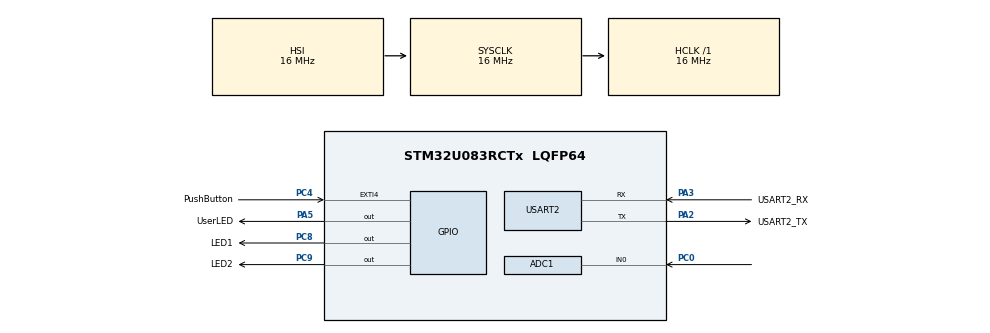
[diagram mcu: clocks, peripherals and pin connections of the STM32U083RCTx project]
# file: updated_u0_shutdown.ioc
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ADC1.Channel-0\#ChannelRegularConversion=ADC_CHANNEL_0
ADC1.NbrOfConversionFlag=1
ADC1.Rank-0\#ChannelRegularConversion=1
ADC1.RankArg-0\#ChannelRegularConversion=ADC_REGULAR_RANK_1
ADC1.SamplingTime-0\#ChannelRegularConversion=ADC_SAMPLINGTIME_COMMON_1
ADC1.SelectedChannel=ADC_CHANNEL_0
ADC1.master=1
Mcu.Family=STM32U0
Mcu.Name=STM32U083RCTx
Mcu.Package=LQFP64
Mcu.UserConstants=sec,60
NVIC.EXTI4_15_IRQn=true\:0\:0\:false\:false\:true\:true\:true\:true
NVIC.PriorityGroup=NVIC_PRIORITYGROUP_2
NVIC.RTC_TAMP_IRQn=true\:0\:0\:false\:false\:true\:true\:true\:true
PA13\ (SWDIO).GPIO_Label=SWDIO
PA13\ (SWDIO).Signal=DEBUG_JTMS-SWDIO
PA14\ (SWCLK).GPIO_Label=SWCLK
PA14\ (SWCLK).Signal=DEBUG_JTCK-SWCLK
PA2.GPIO_Label=USART2_TX
PA2.Mode=Asynchronous
PA2.Signal=USART2_TX
PA3.GPIO_Label=USART2_RX
PA3.Mode=Asynchronous
PA3.Signal=USART2_RX
PA5.GPIO_Label=UserLED
PA5.Signal=GPIO_Output
PB8.GPIO_Label=I2C1_SCL
PB8.Signal=I2C1_SCL
PB9.GPIO_Label=I2C1_SDA
PB9.Signal=I2C1_SDA
PC0.Mode=IN0
PC0.Signal=ADC1_IN0
PC14-OSC32_IN.GPIO_Label=OSC32_IN
PC14-OSC32_IN.Mode=LSE-External-Oscillator
PC14-OSC32_IN.Signal=RCC_OSC32_IN
PC15-OSC32_OUT.GPIO_Label=OSC32_OUT
PC15-OSC32_OUT.Mode=LSE-External-Oscillator
PC15-OSC32_OUT.Signal=RCC_OSC32_OUT
PC4.GPIO_Label=PushButton
PC4.GPIO_PuPd=GPIO_PULLDOWN
PC4.Signal=GPXTI4
PC8.GPIO_Label=LED1
PC8.GPIO_PuPd=GPIO_PULLDOWN
PC8.PinState=GPIO_PIN_SET
PC8.Signal=GPIO_Output
PC9.GPIO_Label=LED2
PC9.GPIO_PuPd=GPIO_PULLDOWN
PC9.PinState=GPIO_PIN_SET
PC9.Signal=GPIO_Output
PF0-OSC_IN.GPIO_Label=OSC_IN
PF0-OSC_IN.Signal=RCC_OSC_IN
PF1-OSC_OUT.GPIO_Label=OSC_OUT
PF1-OSC_OUT.Signal=RCC_OSC_OUT
ProjectManager.HeapSize=0x200
ProjectManager.StackSize=0x400
ProjectManager.TargetToolchain=CMake
RCC.AHBFreq_Value=16000000
RCC.CortexFreq_Value=16000000
RCC.HCLKFreq_Value=16000000
RCC.HSE_VALUE=4000000
RCC.HSI48_VALUE=48000000
RCC.HSI_VALUE=16000000
RCC.MSI_VALUE=4000000
RCC.SYSCLKFreq_VALUE=16000000
RCC.VCOOutputFreq_Value=64000000
RTC.WakeUpClock-WakeUp=RTC_WAKEUPCLOCK_CK_SPRE_16BITS
RTC.WakeUpCounter-WakeUp=60
USART2.VirtualMode-Asynchronous=VM_ASYNC
VP_PWR_VS_SECSignals.Mode=Security/Privilege
VP_RTC_VS_RTC_Activate.Mode=RTC_Enabled
VP_RTC_VS_RTC_WakeUp_intern.Mode=WakeUp
board=NUCLEO-U083RC

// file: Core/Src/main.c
/* USER CODE BEGIN Header */
/**
  ******************************************************************************
  * @file           : main.c
  * @brief          : Main program body
  ******************************************************************************
  * @attention
  *
  * Copyright (c) 2025 STMicroelectronics.
  * All rights reserved.
  *
  * This software is licensed under terms that can be found in the LICENSE file
  * in the root directory of this software component.
  * If no LICENSE file comes with this software, it is provided AS-IS.
  * For a fresh run do cmake --preset Debug && cmake --build build/Debug
  * For a run that already has a debug cmake --build build/Debug --clean-first
  * For flashing/building STM32_Programmer_CLI --connect port=swd --download D:/School/CubeMXtest/updated_u0_shutdown/build/Debug/updated_u0_shutdown.elf -hardRst -rst --start
  ******************************************************************************
  */
/* USER CODE END Header */
#include "main.h"
#include "adc.h"
#include "rtc.h"
#include "usart.h"
#include "gpio.h"

/* USER CODE BEGIN Includes */
#include <stdio.h>
/* USER CODE END Includes */

/* USER CODE BEGIN PV */
volatile uint8_t buttonPressed = 0;
volatile uint32_t Threshold = 2854; // Vin / Vref * (2^n -1) = 2.3 V /3.3 V * (2^12 -1) = 2854
volatile uint32_t value_adc = 0;
/* USER CODE END PV */

void SystemClock_Config(void);
/* USER CODE BEGIN PFP */
#define PUTCHAR_PROTOTYPE int __io_putchar(int ch)
/* USER CODE END PFP */

/* USER CODE BEGIN 0 */
// Reads a single ADC value

// Test function to read and print ADC value to UART
void ADC_READ_TEST() {
  HAL_Delay(1000);  // Initial delay before reading ADC (stabilization time, if needed)

  HAL_ADC_Start(&hadc1);  // Start ADC conversion on ADC1
  HAL_Delay(10);  // Delay to allow some time before next reading (optional for testing)
  value_adc = HAL_ADC_GetValue(&hadc1);  // Read the converted value (last result stored in register)
  HAL_ADC_Stop(&hadc1);  // Stop the ADC after reading (optional in single conversion mode, but good practice)

  // Print the current ADC value and the threshold value to UART (debugging output)
  printf("\nvalue_adc = %lu\nThreshold = %lu\n\n",
         value_adc, Threshold);

  HAL_Delay(2000);  // Delay to allow some time before next reading (optional for testing)
}

// Turns on LED1
void LED1_ON() {
  LED_ON(LED1_GPIO_Port, LED1_Pin);  // Use provided macro to turn on LED1
}

// Turns on LED2
void LED2_ON() {
  LED_ON(LED2_GPIO_Port, LED2_Pin);  // Use provided macro to turn on LED2
}

// Turns on the user LED (probably onboard LED)
void UserLED_ON() {
  LED_ON(UserLED_GPIO_Port, UserLED_Pin);  // Use provided macro to turn on user LED
}

// Turns off LED1
void LED1_OFF() {
  LED_OFF(LED1_GPIO_Port, LED1_Pin);  // Use provided macro to turn off LED1
}

// Turns off LED2
void LED2_OFF() {
  LED_OFF(LED2_GPIO_Port, LED2_Pin);  // Use provided macro to turn off LED2
}

// Turns off the user LED
void UserLED_OFF() {
  LED_OFF(UserLED_GPIO_Port, UserLED_Pin);  // Use provided macro to turn off user LED
}

// Blink the user LED for a given number of seconds
void BLINK_UserLED(int input_sec) {
  UserLED_ON();            // Turn on user LED
  HAL_Delay(input_sec * 1000);   // Wait for the specified time
  UserLED_OFF();           // Turn off user LED
  HAL_Delay(input_sec * 1000);   // Pause before next action
}

// Blink LED1 for a given number of seconds
void BLINK_LED1(int input_sec) {
  LED1_ON();                // Turn on LED1
  HAL_Delay(input_sec * 1000);    // Wait for the specified time
  LED1_OFF();                // Turn off LED1
  HAL_Delay(input_sec * 1000);    // Pause before next action
}

// Blink LED2 for a given number of seconds
void BLINK_LED2(int input_sec) {
  LED2_ON();                // Turn on LED2
  HAL_Delay(input_sec * 1000);    // Wait for the specified time
  LED2_OFF();                // Turn off LED2
  HAL_Delay(input_sec * 1000);    // Pause before next action
}

// Turn off all LEDs (user LED, LED1, LED2)
void HAL_GPIO_ALL_LED_OFF() {
  UserLED_OFF();
  LED2_OFF();
  LED1_OFF();
}

// Turn on all LEDs (user LED, LED1, LED2)
void HAL_GPIO_ALL_LED_ON() {
  UserLED_ON();
  LED2_ON();
  LED1_ON();
}

// Sequentially blink LEDs and then turn all on briefly
void HAL_GPIO_LED_STEP() {
  int input_sec = 1;  // Duration for each blink

  // Sequentially blink each LED
  BLINK_LED2(input_sec);
  BLINK_LED1(input_sec);
  BLINK_UserLED(input_sec);

  // Turn all LEDs on together, hold for a second, then turn all off
  HAL_GPIO_ALL_LED_ON();
  HAL_Delay(input_sec * 1000);
  HAL_GPIO_ALL_LED_OFF();
  HAL_Delay(input_sec * 1000);
}

// Initializes system hardware and peripherals
void INIT() {
  HAL_Init();                  // Initialize HAL library
  SystemClock_Config();        // Configure system clock
  MX_GPIO_Init();               // Initialize GPIOs
  // HAL_MspInit();                // Initialize low-level hardware (clocks, etc.)
  SystemInit();                 // System-level initialization
  // MX_RTC_Init();                // Initialize RTC peripheral
  MX_ADC1_Init();               // Initialize ADC1 peripheral
  MX_USART2_UART_Init();        // Initialize USART2 for debugging/printf

  HAL_Delay(1000);                      // Delay to allow system to stabilize
  HAL_GPIO_ALL_LED_OFF();               // Ensure all LEDs are off after init
}

// External interrupt callback function (called when rising edge detected on button pin)
void HAL_GPIO_EXTI_Rising_Callback(uint16_t GPIO_Pin) {
  if (GPIO_Pin == PushButton_Pin) {  // Check if the triggered pin is the push button
    buttonPressed = 1;               // Set flag to indicate button press
  }
}

// Redirects printf() to use USART2 for debugging
PUTCHAR_PROTOTYPE
{
  HAL_UART_Transmit(&huart2, (uint8_t *) &ch, 1, COM_POLL_TIMEOUT);  // Send single character to USART2
  return ch;  // Return character to satisfy function signature
}

/* RTC Wakeup Timer Interrupt Handler ----------------------------------------*/
void HAL_RTCEx_WakeUpTimerEventCallback(RTC_HandleTypeDef *hrtc) {
  __HAL_RTC_WAKEUPTIMER_CLEAR_FLAG(hrtc, RTC_FLAG_WUTF);  // Clear RTC wakeup flag
}

void Enter_Standby_Mode(void){
  // Wakeup Time = WKUP_Counter * (RTCCLK_Div / 32kHz)

  //HAL_RTCEx_SetWakeUpTimer_IT(&hrtc, 0x500B, RTC_WAKEUPCLOCK_RTCCLK_DIV16, 0); // 10 sec

  printf("Entering Standby Mode now...\n");
  HAL_PWR_EnterSTANDBYMode();

  // The MCU does not return from this function unless reset
  printf("This should never be printed unless standby mode fails.\n");
}

void ButtonTest() {
  while(1) {
    printf("Waiting for Button!\n");
    HAL_Delay(5000);
    if (buttonPressed == 1) {
      printf("Button Pressed!\n");
      buttonPressed = 0;
    }
  }
}
/* USER CODE END 0 */

void SystemClock_Config(void)
{
  RCC_OscInitTypeDef RCC_OscInitStruct = {0};
  RCC_ClkInitTypeDef RCC_ClkInitStruct = {0};

  /** Configure the main internal regulator output voltage
  */
  HAL_PWREx_ControlVoltageScaling(PWR_REGULATOR_VOLTAGE_SCALE2);

  /** Initializes the RCC Oscillators according to the specified parameters
  * in the RCC_OscInitTypeDef structure.
  */
  RCC_OscInitStruct.OscillatorType = RCC_OSCILLATORTYPE_HSI|RCC_OSCILLATORTYPE_LSI;
  RCC_OscInitStruct.HSIState = RCC_HSI_ON;
  RCC_OscInitStruct.HSICalibrationValue = RCC_HSICALIBRATION_DEFAULT;
  RCC_OscInitStruct.LSIState = RCC_LSI_ON;
  RCC_OscInitStruct.PLL.PLLState = RCC_PLL_NONE;
  if (HAL_RCC_OscConfig(&RCC_OscInitStruct) != HAL_OK)
  {
    Error_Handler();
  }

  /** Initializes the CPU, AHB and APB buses clocks
  */
  RCC_ClkInitStruct.ClockType = RCC_CLOCKTYPE_HCLK|RCC_CLOCKTYPE_SYSCLK
                              |RCC_CLOCKTYPE_PCLK1;
  RCC_ClkInitStruct.SYSCLKSource = RCC_SYSCLKSOURCE_HSI;
  RCC_ClkInitStruct.AHBCLKDivider = RCC_SYSCLK_DIV1;
  RCC_ClkInitStruct.APB1CLKDivider = RCC_HCLK_DIV1;

  if (HAL_RCC_ClockConfig(&RCC_ClkInitStruct, FLASH_LATENCY_1) != HAL_OK)
  {
    Error_Handler();
  }
}

/* USER CODE BEGIN 4 */

int main(void) {
  // Initialize all system peripherals and hardware
  INIT();
  printf("\n--- System Booting Up ---\n");
  HAL_Delay(50);
  // Initialize variables or system state (optional message for debugging)
  printf("Initializing Values...\n\n");
  HAL_Delay(50);
  printf("Starting ADC Calibration.\n");
  HAL_Delay(50);
  HAL_ADCEx_Calibration_Start(&hadc1);  // Calibrate ADC1 (recommended after power-up)
  // Ensure all LEDs are off at the start
  HAL_GPIO_ALL_LED_OFF();
  // while(1) {
  //   ADC_READ_TEST();
  // }
  // Indicate the system has woken up from standby
  printf("Woken up from standby!\n\n");
  HAL_Delay(500);

  // Run LED test sequence to verify all LEDs are functional
  printf("- - - - - - - - - - - - - -\n");
  printf("Making Sure All LEDs work.\n");
  printf("- - - - - - - - - - - - - -\n");
  HAL_GPIO_LED_STEP();
  HAL_Delay(1000);

  // Read initial ADC value to check battery/capacitor voltage
  ADC_READ_TEST();

  // Check if the ADC value is above a pre-defined threshold (good power check)
  if (value_adc > Threshold) {
    // If the voltage is good, turn on both LEDs
    LED1_ON();
    HAL_Delay(1000);
    LED2_ON();
    HAL_Delay(5000);  // Hold LEDs on for 5 seconds

    // Loop waiting for user interaction (button press) to confirm system is ready
    while (1) {
      printf("Waiting for good ADC value (aka button) \n\n");
      HAL_Delay(2000);

      // Check if the button was pressed (set by external interrupt callback)
      if (buttonPressed == 1) {
        // Confirm good capacitor values via button press
        printf("Capacitor values are good! (Button Pressed!)\n");
        HAL_Delay(1000);

        // Clear the button press flag
        buttonPressed = 0;
        break;  // Exit the while loop
      }
    }

    // After button confirmation, turn off all LEDs
    HAL_GPIO_ALL_LED_OFF();

    // Indicate system is entering standby mode
    printf("Going into standby mode!\n\nZZZZZ\n\n");
    HAL_Delay(5000);

    /* Configure RTC Wakeup */
    printf("Initializing RTC...\n");
    MX_RTC_Init();
    printf("RTC Initialized.\n");
    printf("Configuring Timer to %ds...\n",sec);

    /* Enter Standby Mode */
    printf("Entering Standby Mode...\n");
    Enter_Standby_Mode();
    // System will restart at main() when woken up
  }

  // If ADC voltage is too low (bad capacitor voltage), turn on user LED
  // Run LED step sequence to provide visual feedback
  HAL_Delay(500);
  UserLED_ON();
  printf("Bad voltage!\n\n");

  // Hold warning state for 5 seconds
  HAL_Delay(2000);

  // Turn off all LEDs before entering standby mode
  HAL_GPIO_ALL_LED_OFF();

  // Indicate system is entering standby due to low voltage
  printf("Going into standby mode!\n\nZZZZZ\n");
  HAL_Delay(5000);

  /* Configure RTC Wakeup */
  printf("Initializing RTC...\n");
  MX_RTC_Init();
  printf("RTC Initialized.\n");
  printf("Configuring Timer to %ds...\n",sec);

  /* Enter Standby Mode */
  printf("Entering Standby Mode...\n");
  Enter_Standby_Mode();
  // System will restart at main() when woken up
  while(1){
    printf("Illegal Area\n");
    HAL_Delay(1000);
  }
  // Normally unreachable, but good practice to return 0 in main
  return 0;
}

/* USER CODE END 4 */

void Error_Handler(void)
{
  __disable_irq();
  while (1)
  {
  }
}

#ifdef  USE_FULL_ASSERT
/**
  * @brief  Reports the name of the source file and the source line number
  *         where the assert_param error has occurred.
  * @param  file: pointer to the source file name
  * @param  line: assert_param error line source number
  * @retval None
  */
void assert_failed(uint8_t *file, uint32_t line)
{
  /* USER CODE BEGIN 6 */
  /* User can add his own implementation to report the file name and line number,
     ex: printf("Wrong parameters value: file %s on line %d\r\n", file, line) */
     (void)file;
     (void)line;
  /* USER CODE END 6 */
}
#endif /* USE_FULL_ASSERT */
